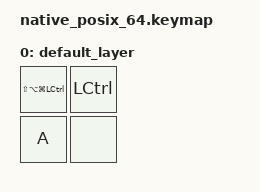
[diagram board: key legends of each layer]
#include <dt-bindings/zmk/keys.h>
#include <behaviors.dtsi>
#include <dt-bindings/zmk/kscan_mock.h>


&kscan {
    events = <
        ZMK_MOCK_PRESS(0,0,10)
        ZMK_MOCK_PRESS(1,0,10)
        ZMK_MOCK_RELEASE(1,0,10)
        ZMK_MOCK_RELEASE(0,0,10)

    >;
};

/ {
    keymap {
        compatible = "zmk,keymap";

        default_layer {
            bindings = <
                &kp LS(LA(LG(LEFT_CONTROL))) &kp LEFT_CONTROL
                &kp A &none
            >;
        };
    };
};
